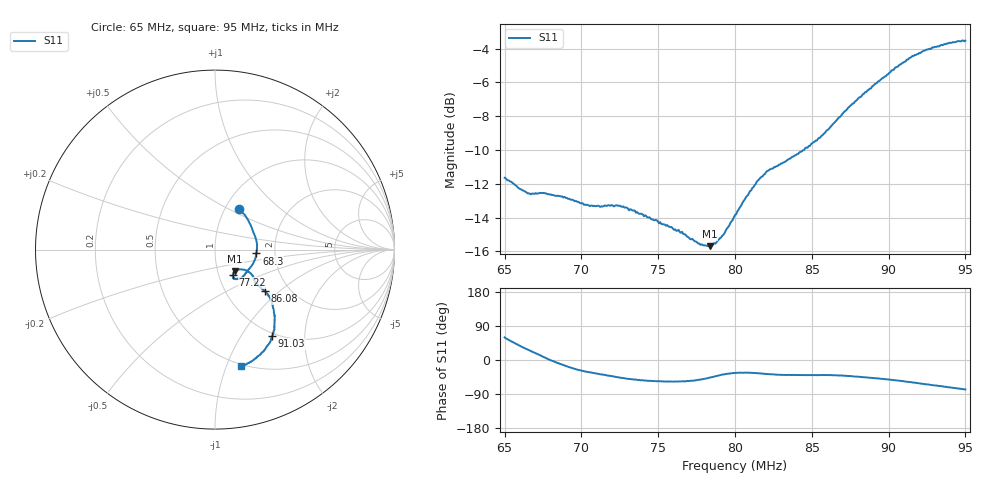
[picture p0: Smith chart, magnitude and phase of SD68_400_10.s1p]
! NanoVNA-App
! Date: 2025-08-02 16:17:02
! Start: 65MHz Stop: 95MHz Points: 401
! S-Parameter data: F S11
# Hz S RI R 50
!  Frequency  S11_Real  S11_Imag
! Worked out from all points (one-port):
!   401 points, 65 MHz to 95 MHz, reference 50 ohm
!   lowest |S11| = -15.7 dB at 78.35 MHz (marker M1), VSWR 1.39, Z = 60.7 - j14.9 ohm
!   |S11| at or under -10 dB: start of sweep to 84.5 MHz
!   S11 on the Smith chart (normalised r, x): 65 MHz: 1.16, +0.56; 68.3 MHz: 1.60, -0.07; 77.22 MHz: 1.17, -0.34; 86.08 MHz: 1.51, -0.81; 91.03 MHz: 0.96, -1.38; 95 MHz: 0.48, -1.12
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6.5e7  0.1323 0.2259
6.56e7  0.1758 0.1793
6.635e7  0.2054 0.1202
6.7475e7  0.2329 0.0379
6.83e7  0.2304 -0.0216
6.875e7  0.2253 -0.0486
6.995e7  0.1956 -0.1007
7.0625e7  0.1817 -0.1178
7.25e7  0.1489 -0.1571
7.4225e7  0.118 -0.1633
7.625e7  0.1003 -0.1526
7.7225e7  0.0995 -0.1412
7.835e7  0.1129 -0.1193
7.9175e7  0.1383 -0.1096
8e7  0.1682 -0.1137
8.1575e7  0.2121 -0.1488
8.2175e7  0.2192 -0.1657
8.375e7  0.232 -0.1933
8.4875e7  0.2494 -0.2086
8.6075e7  0.2797 -0.2324
8.75e7  0.3159 -0.2877
8.9375e7  0.333 -0.3803
9.1025e7  0.3193 -0.4801
9.125e7  0.3125 -0.4951
9.17e7  0.3037 -0.5219
9.2975e7  0.2507 -0.5867
9.4025e7  0.198 -0.6257
9.5e7  0.1422 -0.6504
